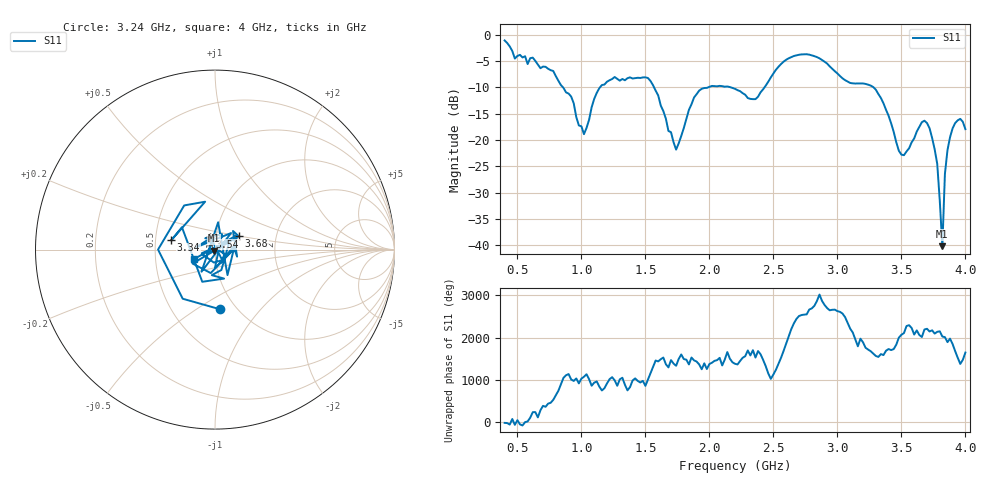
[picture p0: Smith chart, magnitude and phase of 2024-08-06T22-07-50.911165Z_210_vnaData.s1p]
!Created with skrf (http://scikit-rf.org).
# Hz S RI R 50.0
!freq ReS11 ImS11
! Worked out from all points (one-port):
!   181 points, 400 MHz to 4 GHz, reference 50 ohm
!   lowest |S11| = -40.2 dB at 3.82 GHz (marker M1), VSWR 1.02, Z = 49.3 - j0.658 ohm
!   |S11| at or under -10 dB: 855.3 MHz to 1.146 GHz (290.9 MHz wide, 29.1 % of centre); 1.567 GHz to 1.993 GHz (425.8 MHz wide, 23.9 % of centre); 3.281 GHz to end of sweep (the widest 3 of 4)
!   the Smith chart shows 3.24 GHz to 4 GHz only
!   S11 on the Smith chart (normalised r, x): 3.24 GHz: 0.84, -0.63; 3.34 GHz: 0.60, +0.07; 3.54 GHz: 0.94, +0.14; 3.68 GHz: 1.29, +0.20; 4 GHz: 0.79, -0.08
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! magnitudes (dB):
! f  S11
! 400 MHz  -1.1
! 480 MHz  -4.6
! 620 MHz  -4.4
! 860 MHz  -10.1
! 1.02 GHz  -18.9
! 1.14 GHz  -10.2
! 1.3 GHz  -8.8
! 1.52 GHz  -8.3
! 1.74 GHz  -21.8
! 1.76 GHz  -20.7
! 1.92 GHz  -10.7
! 2.2 GHz  -10.3
! 2.36 GHz  -12.3
! 2.66 GHz  -4.1
! 2.84 GHz  -4.3
! 3.1 GHz  -9.2
! 3.24 GHz  -9.5
! 3.34 GHz  -12.1
! 3.48 GHz  -22.1
! 3.54 GHz  -22.2
! 3.56 GHz  -21.6
! 3.68 GHz  -16.4
! 3.78 GHz  -24.6
! 3.82 GHz  -40.2
! 3.84 GHz  -26.5
! 3.86 GHz  -22.0
! 3.92 GHz  -16.8
! 4 GHz  -18.0
